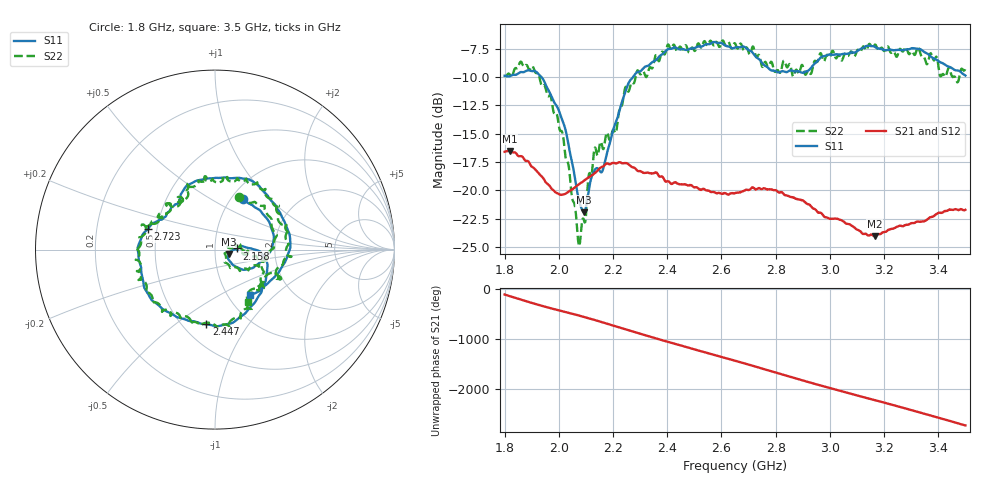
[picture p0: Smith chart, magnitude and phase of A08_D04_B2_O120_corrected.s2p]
! Created with skrf 1.9.0 (http://scikit-rf.org).
# Hz S RI R 50.0
!freq ReS11 ImS11 ReS21 ImS21 ReS12 ImS12 ReS22 ImS22
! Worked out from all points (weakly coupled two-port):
!   1601 points, 1.8 GHz to 3.5 GHz, reference 50 ohm
!   highest |S21| = -16.51 dB at 1.819 GHz (marker M1); lowest = -24.0 dB at 3.165 GHz (marker M2)
!   lowest |S11| = -21.9 dB at 2.092 GHz (marker M3), VSWR 1.17, Z = 58.2 - j2.93 ohm
!   |S11| at or under -10 dB: 1.936 GHz to 2.274 GHz (338.3 MHz wide, 16.1 % of centre)
!   |S22| runs from -24.9 to -6.8 dB; largest |S21 - S12| = 0.0024
!   S11 on the Smith chart (normalised r, x): 1.8 GHz: 1.13, +0.71; 2.158 GHz: 1.27, +0.02; 2.447 GHz: 0.65, -0.65; 2.723 GHz: 0.44, +0.12; 3.5 GHz: 1.26, -0.72
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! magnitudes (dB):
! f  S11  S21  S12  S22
! 1.8 GHz  -9.9  -16.6  -16.6  -9.9
! 1.819 GHz  -9.9  -16.5  -16.5  -9.8
! 1.903 GHz  -9.5  -17.9  -17.9  -9.0
! 1.968 GHz  -11.4  -19.7  -19.7  -11.6
! 2.015 GHz  -13.9  -20.4  -20.4  -15.0
! 2.072 GHz  -20.6  -19.5  -19.5  -24.6
! 2.084 GHz  -21.6  -19.3  -19.2  -23.1
! 2.092 GHz  -21.9  -19.1  -19.2  -22.6
! 2.13 GHz  -18.3  -18.5  -18.5  -16.5
! 2.158 GHz  -18.4  -17.9  -17.9  -15.9
! 2.209 GHz  -14.1  -17.6  -17.6  -14.9
! 2.258 GHz  -10.5  -17.7  -17.7  -11.3
! 2.367 GHz  -8.3  -18.7  -18.6  -8.6
! 2.447 GHz  -7.6  -19.5  -19.4  -7.3
! 2.65 GHz  -7.4  -20.2  -20.2  -7.0
! 2.723 GHz  -8.1  -19.9  -19.8  -7.8
! 2.934 GHz  -9.1  -21.5  -21.5  -9.5
! 3.165 GHz  -7.3  -24.0  -24.0  -7.2
! 3.217 GHz  -7.6  -23.5  -23.4  -7.4
! 3.326 GHz  -7.5  -22.8  -22.7  -7.4
! 3.468 GHz  -9.4  -21.7  -21.6  -10.4
! 3.5 GHz  -9.9  -21.7  -21.7  -9.3
